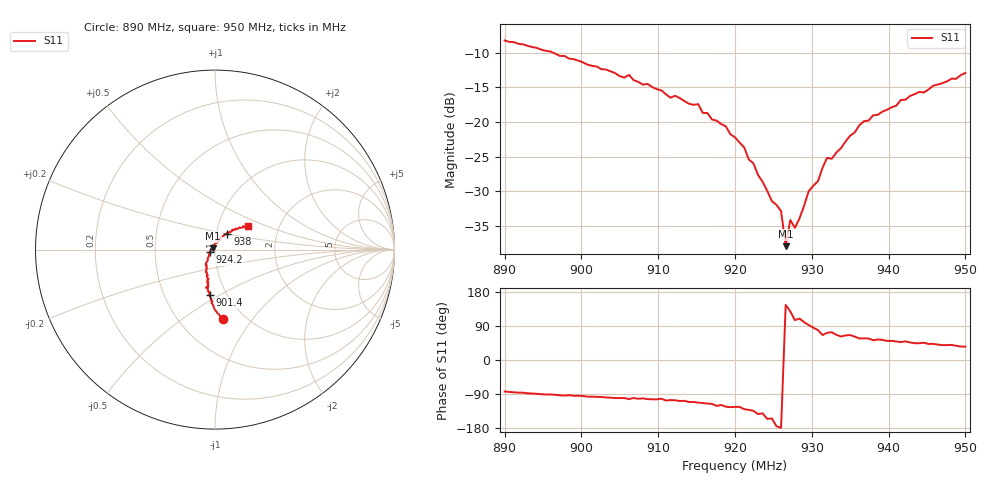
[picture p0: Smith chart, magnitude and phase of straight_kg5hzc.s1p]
# HZ S RI R 50
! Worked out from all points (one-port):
!   101 points, 890 MHz to 950 MHz, reference 50 ohm
!   lowest |S11| = -37.9 dB at 926.6 MHz (marker M1), VSWR 1.03, Z = 49 + j0.709 ohm
!   |S11| at or under -10 dB: 896.3 MHz to end of sweep
!   S11 on the Smith chart (normalised r, x): 890 MHz: 0.80, -0.73; 901.4 MHz: 0.83, -0.45; 924.2 MHz: 0.94, -0.02; 938 MHz: 1.13, +0.20; 950 MHz: 1.39, +0.38
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8.9e8  0.0462 -0.3843
8.978e8  -0.0192 -0.2986
9.014e8  -0.0295 -0.252
9.05e8  -0.0385 -0.2101
9.062e8  -0.0498 -0.2128
9.116e8  -0.0407 -0.1439
9.128e8  -0.0466 -0.1412
9.152e8  -0.0511 -0.1245
9.158e8  -0.0465 -0.1064
9.188e8  -0.0511 -0.0778
9.2e8  -0.0429 -0.0644
9.212e8  -0.0418 -0.0504
9.218e8  -0.0356 -0.04
9.224e8  -0.0349 -0.0361
9.242e8  -0.0289 -0.0131
9.248e8  -0.0241 -0.0117
9.26e8  -0.0227 -0.000391
9.266e8  -0.0104 0.00724
9.272e8  -0.0121 0.0154
9.278e8  -0.0045 0.0166
9.296e8  -0.0012 0.0316
9.308e8  0.00719 0.0366
9.32e8  0.0171 0.0524
9.326e8  0.0157 0.0519
9.35e8  0.0326 0.0726
9.38e8  0.0687 0.0881
9.428e8  0.1061 0.1116
9.5e8  0.1846 0.1297
